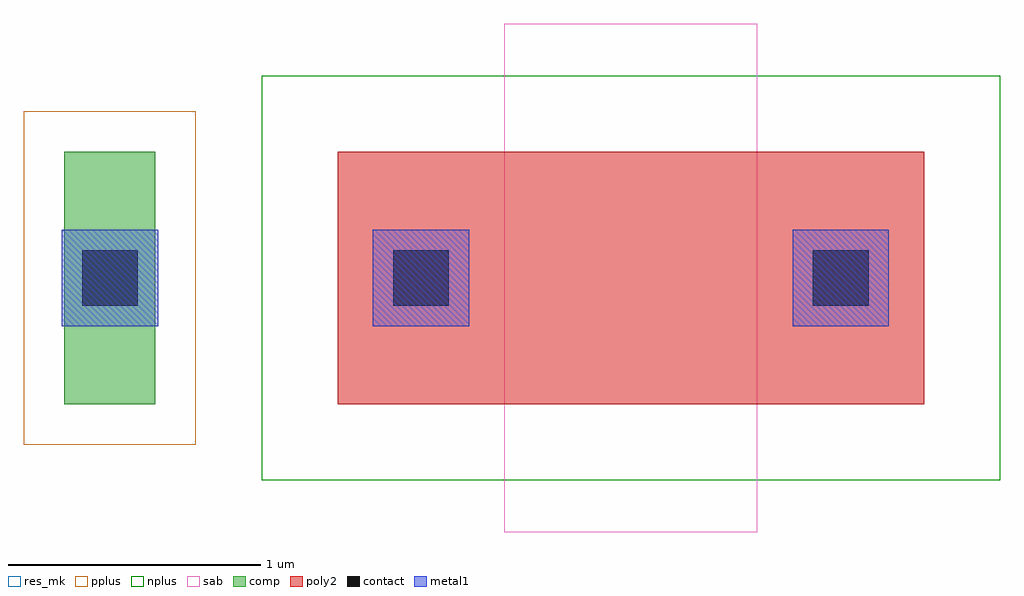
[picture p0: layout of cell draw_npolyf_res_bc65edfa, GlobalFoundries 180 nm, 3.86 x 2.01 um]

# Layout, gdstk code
import gdstk
lib = gdstk.Library(unit=1e-6, precision=1e-09)
def R(c, l, rs):  # rectangles x0, y0, x1, y1
    for r in rs: c.add(gdstk.rectangle(r[:2], r[2:], *l))
comp = (22, 0)
poly2 = (30, 0)
pplus = (31, 0)
nplus = (32, 0)
contact = (33, 0)
metal1 = (34, 0)
sab = (49, 0)
res_mk = (110, 5)

draw_npolyf_res_bc65edfa = lib.new_cell('draw_npolyf_res_bc65edfa')
R(draw_npolyf_res_bc65edfa, comp, [(-1.74,0,-1.38,1)])
R(draw_npolyf_res_bc65edfa, poly2, [(-0.66,0,1.66,1)])
R(draw_npolyf_res_bc65edfa, pplus, [(-1.9,-0.16,-1.22,1.16)])
R(draw_npolyf_res_bc65edfa, nplus, [(-0.96,-0.3,1.96,1.3)])
R(draw_npolyf_res_bc65edfa, contact, [(-1.67,0.39,-1.45,0.61), (-0.44,0.39,-0.22,0.61), (1.22,0.39,1.44,0.61)])
R(draw_npolyf_res_bc65edfa, metal1, [(-1.75,0.31,-1.37,0.69), (-0.52,0.31,-0.14,0.69), (1.14,0.31,1.52,0.69)])
R(draw_npolyf_res_bc65edfa, sab, [(0,-0.505,1,1.505)])
R(draw_npolyf_res_bc65edfa, res_mk, [(0,0,1,1)])

lib.write_gds('draw_npolyf_res_bc65edfa.gds')
